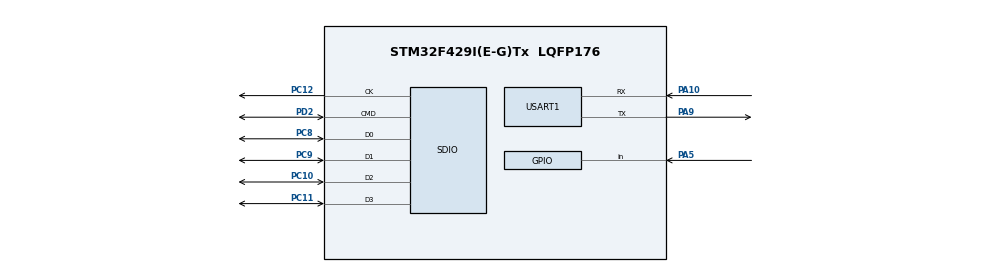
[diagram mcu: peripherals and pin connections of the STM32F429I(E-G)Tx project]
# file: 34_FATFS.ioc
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FATFS.BSP.number=1
FATFS._CODE_PAGE=936
FATFS._FS_LOCK=5
FATFS._USE_LFN=2
FATFS0.BSP.STBoard=false
FATFS0.BSP.api=Unknown
FATFS0.BSP.i2caddr=0
FATFS0.BSP.instance=PA5
FATFS0.BSP.ip=GPIO
FATFS0.BSP.mode=Input
FATFS0.BSP.name=Detect_SDIO
FATFS0.BSP.solution=PA5
Mcu.Family=STM32F4
Mcu.Name=STM32F429I(E-G)Tx
Mcu.Package=LQFP176
NVIC.PriorityGroup=NVIC_PRIORITYGROUP_4
NVIC.SDIO_IRQn=true\:0\:0\:false\:false\:true\:true\:true
PA10.Mode=Asynchronous
PA10.Signal=USART1_RX
PA13.Mode=Trace_Asynchronous_SW
PA13.Signal=SYS_JTMS-SWDIO
PA14.Mode=Trace_Asynchronous_SW
PA14.Signal=SYS_JTCK-SWCLK
PA5.Signal=GPIO_Input
PA9.Mode=Asynchronous
PA9.Signal=USART1_TX
PB3.Mode=Trace_Asynchronous_SW
PB3.Signal=SYS_JTDO-SWO
PC10.GPIO_PuPd=GPIO_PULLUP
PC10.Mode=SD_4_bits_Wide_bus
PC10.Signal=SDIO_D2
PC11.GPIO_PuPd=GPIO_PULLUP
PC11.Mode=SD_4_bits_Wide_bus
PC11.Signal=SDIO_D3
PC12.GPIO_PuPd=GPIO_PULLUP
PC12.Mode=SD_4_bits_Wide_bus
PC12.Signal=SDIO_CK
PC14/OSC32_IN.Mode=LSE-External-Oscillator
PC14/OSC32_IN.Signal=RCC_OSC32_IN
PC15/OSC32_OUT.Mode=LSE-External-Oscillator
PC15/OSC32_OUT.Signal=RCC_OSC32_OUT
PC8.GPIO_PuPd=GPIO_PULLUP
PC8.Mode=SD_4_bits_Wide_bus
PC8.Signal=SDIO_D0
PC9.GPIO_PuPd=GPIO_PULLUP
PC9.Mode=SD_4_bits_Wide_bus
PC9.Signal=SDIO_D1
PD2.GPIO_PuPd=GPIO_PULLUP
PD2.Mode=SD_4_bits_Wide_bus
PD2.Signal=SDIO_CMD
PH0/OSC_IN.Mode=HSE-External-Oscillator
PH0/OSC_IN.Signal=RCC_OSC_IN
PH1/OSC_OUT.Mode=HSE-External-Oscillator
PH1/OSC_OUT.Signal=RCC_OSC_OUT
ProjectManager.HeapSize=0x2000
ProjectManager.StackSize=0x1000
ProjectManager.TargetToolchain=STM32CubeIDE
RCC.48MHZClocksFreq_Value=45000000
RCC.AHBFreq_Value=180000000
RCC.APB1CLKDivider=RCC_HCLK_DIV4
RCC.APB1Freq_Value=45000000
RCC.APB1TimFreq_Value=90000000
RCC.APB2CLKDivider=RCC_HCLK_DIV2
RCC.APB2Freq_Value=90000000
RCC.APB2TimFreq_Value=180000000
RCC.CortexFreq_Value=180000000
RCC.HCLKFreq_Value=180000000
RCC.HSE_VALUE=25000000
RCC.HSI_VALUE=16000000
RCC.PLLM=15
RCC.PLLN=216
RCC.PLLQ=8
RCC.PLLSourceVirtual=RCC_PLLSOURCE_HSE
RCC.SYSCLKFreq_VALUE=180000000
RCC.SYSCLKSource=RCC_SYSCLKSOURCE_PLLCLK
RCC.VCOOutputFreq_Value=360000000
SDIO.ClockDiv=4
USART1.VirtualMode=VM_ASYNC
VP_FATFS_VS_SDIO.Mode=SDIO
board=custom

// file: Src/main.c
/* USER CODE BEGIN Header */
/**
 ******************************************************************************
 * @file           : main.c
 * @brief          : Main program body
 ******************************************************************************
 * @attention
 *
 * <h2><center>&copy; Copyright (c) 2019 STMicroelectronics.
 * All rights reserved.</center></h2>
 *
 * This software component is licensed by ST under BSD 3-Clause license,
 * the "License"; You may not use this file except in compliance with the
 * License. You may obtain a copy of the License at:
 *                        opensource.org/licenses/BSD-3-Clause
 *
 ******************************************************************************
 */
/* USER CODE END Header */

#include "main.h"
#include "fatfs.h"
#include "sdio.h"
#include "usart.h"
#include "gpio.h"

/* USER CODE BEGIN Includes */
#include <stdio.h>
/* USER CODE END Includes */

/* USER CODE BEGIN PTD */
#ifdef __GNUC__
#define PUTCHAR_PROTOTYPE int __io_putchar(int ch)
#else
#define PUTCHAR_PROTOTYPE int fputc(int ch, FILE *f)
#endif
PUTCHAR_PROTOTYPE
{
    while ((USART1->SR & 0X40) == 0);
    USART1->DR = (uint8_t) ch;
    return ch;
}
/* USER CODE END PTD */

/* USER CODE BEGIN PV */
extern FATFS SDFatFS; /* File system object for SD logical drive */
extern FIL SDFile; /* File object for SD */
extern char SDPath[4];
FRESULT res;
uint8_t workBuffer[_MAX_SS];
uint32_t byteswritten, bytesread; /* File write/read counts */
uint8_t wtext[] = "This is STM32 working with FatFs SDIO_4bit"; /* File write buffer */
uint8_t rtext[100]; /* File read buffer */

/* USER CODE END PV */

void SystemClock_Config (void);

/* USER CODE BEGIN 0 */

FRESULT scan_files (char*path) /* Start node to be scanned (also used as work area) */
{
    FRESULT res;
    FILINFO fno;
    DIR dir;
    int i;
    char *fn; /* This function is assuming non-Unicode cfg. */
    res = f_opendir (&dir, path); /* Open the directory */
    if (res == FR_OK)
    {
	i = strlen (path);
	for (;;)
	{
	    res = f_readdir (&dir, &fno); /* Read a directory item */
	    if (res != FR_OK)
	    {
		break; /* Break on error or end of dir */
	    }
	    else if (fno.fname[0] == 0)
	    {
		printf ("%s\r\n", path);
		break;
	    }
	    fn = fno.fname;
	    if (fno.fattrib & AM_DIR)
	    { /* It is a directory */
		sprintf (&path[i], "/%s", fn);
		res = scan_files (path);
		if (res != FR_OK)
		    break;
		path[i] = 0;
	    }
	    else
	    { /* It is a file. */
		printf ("%s/%s\r\n", path, fn);
	    }
	}
    }
    return res;
}

/* USER CODE END 0 */

int main (void)
{

    /* MCU Configuration--------------------------------------------------------*/

    /* Reset of all peripherals, Initializes the Flash interface and the Systick. */
    HAL_Init ();

    /* Configure the system clock */
    SystemClock_Config ();

    /* Initialize all configured peripherals */
    MX_GPIO_Init ();
    MX_SDIO_SD_Init ();
    MX_USART1_UART_Init ();
    MX_FATFS_Init ();
    /* USER CODE BEGIN 2 */
    printf ("Start\r\n");
    /*##-2- Register the file system object to the FatFs module ##############*/
    printf ("#2  %d\r\n", HAL_GetTick ());
    if (f_mount (&SDFatFS, (TCHAR const*) SDPath, 0) != FR_OK)
    {
	/* FatFs Initialization Error */
	Error_Handler ();
    }
    else
    {
	scan_files (SDPath);

    }
//    else
//    {
//	/*##-3- Create a FAT file system (format) on the logical drive #########*/
//	/* WARNING: Formatting the uSD card will delete all content on the device */
//	printf ("#3  %d\r\n", HAL_GetTick ());
////	if (f_mkfs ((TCHAR const*) SDPath, FM_ANY, 0, workBuffer, sizeof(workBuffer)) != FR_OK)
////	{
////	    /* FatFs Format Error */
////	    Error_Handler ();
////	}
////	else
////	{
//	    /*##-4- Create and Open a new text file object with write access #####*/
//	    printf ("#4  %d\r\n", HAL_GetTick ());
//	    if (f_open (&SDFile, "STM32.TXT", FA_CREATE_ALWAYS | FA_WRITE) != FR_OK)
//	    {
//		/* 'STM32.TXT' file Open for write Error */
//		Error_Handler ();
//	    }
//	    else
//	    {
//		/*##-5- Write data to the text file ################################*/
//		printf ("#5  %d\r\n", HAL_GetTick ());
//		res = f_write (&SDFile, wtext, sizeof(wtext), (void*) &byteswritten);
//
//		if ((byteswritten == 0) || (res != FR_OK))
//		{
//		    /* 'STM32.TXT' file Write or EOF Error */
//		    Error_Handler ();
//		}
//		else
//		{
//		    /*##-6- Close the open text file #################################*/
//		    printf ("#6  %d\r\n", HAL_GetTick ());
//		    f_close (&SDFile);
//
//		    /*##-7- Open the text file object with read access ###############*/
//		    printf ("#7  %d\r\n", HAL_GetTick ());
//		    if (f_open (&SDFile, "STM32.TXT", FA_READ) != FR_OK)
//		    {
//			/* 'STM32.TXT' file Open for read Error */
//			Error_Handler ();
//		    }
//		    else
//		    {
//			/*##-8- Read data from the text file ###########################*/
//			printf ("#8  %d\r\n", HAL_GetTick ());
//			res = f_read (&SDFile, rtext, sizeof(rtext), (UINT*) &bytesread);
//
//			if ((bytesread == 0) || (res != FR_OK))
//			{
//			    /* 'STM32.TXT' file Read or EOF Error */
//			    Error_Handler ();
//			}
//			else
//			{
//			    /*##-9- Close the open text file #############################*/
//			    printf ("#9  %d\r\n", HAL_GetTick ());
//			    f_close (&SDFile);
//
//			    /*##-10- Compare read data with the expected data ############*/
//			    printf ("#10  %d\r\n", HAL_GetTick ());
//			    if ((bytesread != byteswritten))
//			    {
//				/* Read data is different from the expected data */
//				Error_Handler ();
//			    }
//			    else
//			    {
//				/* Success of the demo: no error occurrence */
//				printf ("Success\r\n");
//			    }
//			}
//		    }
//		}
//	    }
//	}
////    }
    /*##-11- Unlink the micro SD disk I/O driver ###############################*/
    FATFS_UnLinkDriver (SDPath);
    printf ("Done\r\n");
    /* USER CODE END 2 */

    /* Infinite loop */
    while (1)
    {

    }
}

void SystemClock_Config (void)
{
    RCC_OscInitTypeDef RCC_OscInitStruct = { 0 };
    RCC_ClkInitTypeDef RCC_ClkInitStruct = { 0 };

    /** Configure the main internal regulator output voltage
     */
    __HAL_RCC_PWR_CLK_ENABLE();
    __HAL_PWR_VOLTAGESCALING_CONFIG(PWR_REGULATOR_VOLTAGE_SCALE1);
    /** Initializes the CPU, AHB and APB busses clocks
     */
    RCC_OscInitStruct.OscillatorType = RCC_OSCILLATORTYPE_HSE;
    RCC_OscInitStruct.HSEState = RCC_HSE_ON;
    RCC_OscInitStruct.PLL.PLLState = RCC_PLL_ON;
    RCC_OscInitStruct.PLL.PLLSource = RCC_PLLSOURCE_HSE;
    RCC_OscInitStruct.PLL.PLLM = 15;
    RCC_OscInitStruct.PLL.PLLN = 216;
    RCC_OscInitStruct.PLL.PLLP = RCC_PLLP_DIV2;
    RCC_OscInitStruct.PLL.PLLQ = 8;
    if (HAL_RCC_OscConfig (&RCC_OscInitStruct) != HAL_OK)
    {
	Error_Handler ();
    }
    /** Activate the Over-Drive mode
     */
    if (HAL_PWREx_EnableOverDrive () != HAL_OK)
    {
	Error_Handler ();
    }
    /** Initializes the CPU, AHB and APB busses clocks
     */
    RCC_ClkInitStruct.ClockType = RCC_CLOCKTYPE_HCLK | RCC_CLOCKTYPE_SYSCLK | RCC_CLOCKTYPE_PCLK1 | RCC_CLOCKTYPE_PCLK2;
    RCC_ClkInitStruct.SYSCLKSource = RCC_SYSCLKSOURCE_PLLCLK;
    RCC_ClkInitStruct.AHBCLKDivider = RCC_SYSCLK_DIV1;
    RCC_ClkInitStruct.APB1CLKDivider = RCC_HCLK_DIV4;
    RCC_ClkInitStruct.APB2CLKDivider = RCC_HCLK_DIV2;

    if (HAL_RCC_ClockConfig (&RCC_ClkInitStruct, FLASH_LATENCY_5) != HAL_OK)
    {
	Error_Handler ();
    }
}

/* USER CODE BEGIN 4 */

//int _write(int file, char *ptr, int len) {
//	int DataIdx;
//	for (DataIdx = 0; DataIdx < len; DataIdx++) {
//		ITM_SendChar(*ptr++);
//	}
//	return len;
//}
/* USER CODE END 4 */

void Error_Handler (void)
{
    /* USER CODE BEGIN Error_Handler_Debug */
    /* User can add his own implementation to report the HAL error return state */
    printf ("Wrong!!!\r\n");
    /* USER CODE END Error_Handler_Debug */
}

/************************ (C) COPYRIGHT STMicroelectronics *****END OF FILE****/
